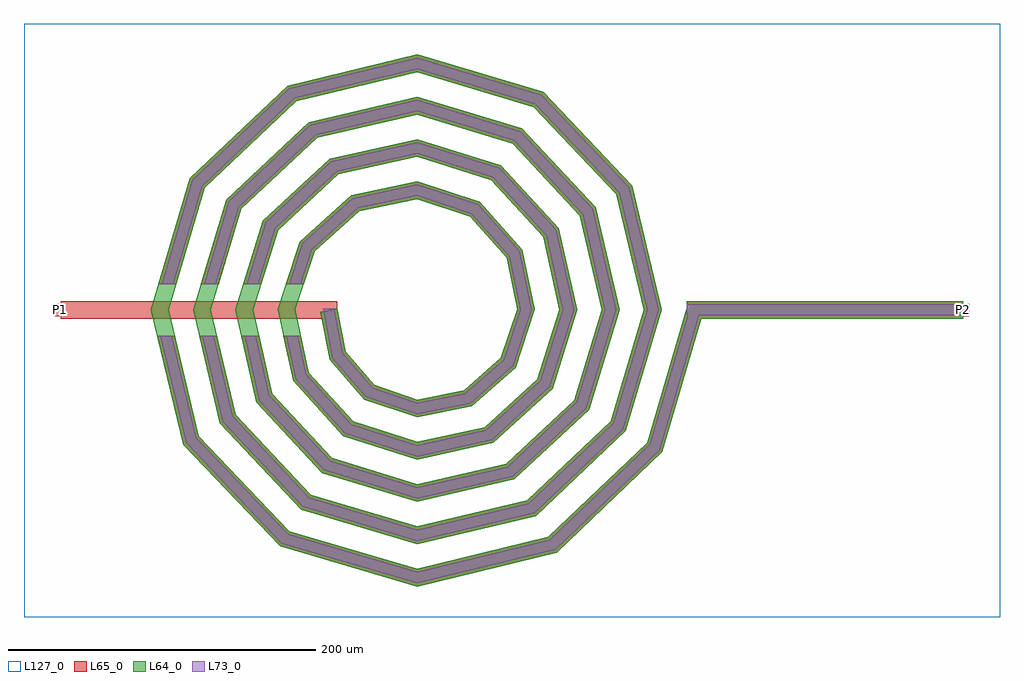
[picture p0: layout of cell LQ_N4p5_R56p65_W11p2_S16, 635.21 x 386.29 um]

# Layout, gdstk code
import gdstk
lib = gdstk.Library(unit=1e-6, precision=1e-09)
def R(c, l, rs):  # rectangles x0, y0, x1, y1
    for r in rs: c.add(gdstk.rectangle(r[:2], r[2:], *l))
def P(c, l, *ps):  # polygons
    for p in ps: c.add(gdstk.Polygon(p, *l))
L64_0 = (64, 0)
L65_0 = (65, 0)
L73_0 = (73, 0)
L127_0 = (127, 0)

lq_n4p5_r56p65_w11p2_s16 = lib.new_cell('LQ_N4p5_R56p65_W11p2_S16')
R(lq_n4p5_r56p65_w11p2_s16, L64_0, [(175.506,-5.6,355.506,5.6)])
P(lq_n4p5_r56p65_w11p2_s16, L64_0, [(-46.392,-27.264),(-27.704,-48.784),(0.386,-58.392),(30.665,-52.368),(54.719,-31.176),(65.268,0.349),(58.34,34.073),(34.643,60.658),(0.318,72.145),(-37.486,64.31),(-66.6,38.105),(-79.022,0.292),(-70.278,-40.903),(-41.563,-72.544),(0.27,-85.899),(44.324,-76.244),(78.49,-45.019),(92.776,0.251),(82.209,47.747),(48.473,84.437),(0.235,99.654),(-51.172,88.173),(-90.386,51.924),(-106.531,0.221),(-94.136,-54.599),(-55.375,-96.336),(0.208,-113.409),(58.027,-100.099),(102.286,-58.824),(120.287,0.197),(106.06,61.457),(62.272,108.237),(0.186,127.165),(-64.887,112.022),(-114.189,65.719),(-134.042,0.177),(-117.982,-68.319),(-69.165,-120.141),(0.169,-140.92),(71.751,-123.943),(126.093,-72.611),(147.798,0.161),(129.903,75.183),(76.056,132.046),(0.155,154.676),(-78.616,135.863),(-138,79.501),(-161.554,0.148),(-141.822,-82.05),(-82.945,-143.953),(0.142,-168.432),(85.484,-147.782),(149.907,-86.389),(175.733,1.578),(186.479,-1.578),(159.807,-92.425),(91.037,-157.961),(0.142,-180.024),(-88.991,-153.848),(-152.007,-87.593),(-173.146,0.148),(-147.888,85.557),(-84.148,146.054),(0.155,166.268),(82.123,141.928),(140.1,80.703),(159.39,0.161),(135.968,-78.69),(77.258,-134.147),(0.169,-152.511),(-75.258,-130.007),(-128.195,-73.812),(-145.633,0.177),(-124.046,71.826),(-70.365,122.242),(0.186,138.755),(68.395,118.084),(116.29,66.917),(131.876,0.197),(112.122,-64.965),(63.469,-110.339),(0.208,-124.998),(-61.536,-106.16),(-104.388,-60.019),(-118.119,0.221),(-100.196,58.108),(-56.568,98.438),(0.235,111.241),(54.682,94.231),(92.489,53.115),(104.362,0.251),(88.266,-51.257),(49.66,-86.541),(0.27,-97.483),(-47.835,-82.298),(-80.594,-46.202),(-90.604,0.292),(-76.33,44.416),(-42.742,74.648),(0.318,83.725),(41,70.358),(68.705,39.277),(76.845,0.349),(64.384,-37.588),(35.807,-62.764),(0.386,-69.965),(-34.182,-58.405),(-56.827,-32.329),(-62.801,-1.051),(-51.8,1.051)])
R(lq_n4p5_r56p65_w11p2_s16, L65_0, [(-231.701,-5.6,-51.701,5.6), (175.506,-5.6,355.506,5.6), (-235.701,-4,-227.701,4), (351.506,-4,359.506,4)])
P(lq_n4p5_r56p65_w11p2_s16, L65_0, [(-141.822,-82.05),(-82.945,-143.953),(0.142,-168.432),(85.484,-147.782),(149.907,-86.389),(175.733,1.578),(186.479,-1.578),(159.807,-92.425),(91.037,-157.961),(0.142,-180.024),(-88.991,-153.848),(-152.008,-87.593),(-169.063,-16.8),(-157.542,-16.8)],
  [(-117.982,-68.319),(-69.165,-120.141),(0.169,-140.92),(71.751,-123.943),(126.094,-72.611),(147.798,0.161),(129.903,75.183),(76.056,132.046),(0.155,154.676),(-78.616,135.863),(-138,79.501),(-156.542,16.8),(-168.222,16.8),(-147.888,85.557),(-84.148,146.054),(0.155,166.268),(82.123,141.928),(140.101,80.703),(159.39,0.161),(135.968,-78.69),(77.258,-134.147),(0.169,-152.511),(-75.258,-130.007),(-128.195,-73.812),(-141.632,-16.8),(-130.125,-16.8)],
  [(-94.136,-54.599),(-55.375,-96.336),(0.208,-113.409),(58.028,-100.099),(102.286,-58.824),(120.287,0.197),(106.06,61.457),(62.272,108.237),(0.187,127.165),(-64.887,112.022),(-114.189,65.719),(-128.927,16.8),(-140.625,16.8),(-124.046,71.826),(-70.365,122.242),(0.187,138.755),(68.395,118.085),(116.29,66.917),(131.876,0.197),(112.122,-64.965),(63.469,-110.339),(0.208,-124.998),(-61.536,-106.16),(-104.388,-60.019),(-114.24,-16.8),(-102.752,-16.8)],
  [(-70.278,-40.903),(-41.563,-72.544),(0.27,-85.899),(44.324,-76.244),(78.49,-45.019),(92.776,0.252),(82.209,47.747),(48.473,84.438),(0.235,99.654),(-51.172,88.173),(-90.386,51.924),(-101.261,16.8),(-112.986,16.8),(-100.196,58.108),(-56.568,98.438),(0.235,111.241),(54.682,94.231),(92.489,53.115),(104.362,0.252),(88.266,-51.258),(49.66,-86.541),(0.27,-97.483),(-47.835,-82.299),(-80.594,-46.202),(-86.924,-16.8),(-75.467,-16.8)],
  [(-27.704,-48.784),(0.386,-58.392),(30.665,-52.368),(54.719,-31.176),(65.268,0.349),(58.34,34.073),(34.643,60.658),(0.318,72.145),(-37.486,64.31),(-66.6,38.105),(-73.492,16.8),(-85.264,16.8),(-76.33,44.416),(-42.742,74.648),(0.318,83.725),(41,70.358),(68.705,39.277),(76.845,0.349),(64.384,-37.588),(35.807,-62.764),(0.386,-69.965),(-34.182,-58.405),(-56.827,-32.329),(-62.801,-1.051),(-51.8,1.051),(-46.392,-27.264)])
R(lq_n4p5_r56p65_w11p2_s16, L73_0, [(175.506,-3.6,355.506,3.6)])
P(lq_n4p5_r56p65_w11p2_s16, L73_0, [(-143.641,-83.04),(-84.024,-145.72),(0.092,-170.502),(86.476,-149.6),(151.675,-87.467),(177.652,1.014),(184.56,-1.014),(158.039,-91.347),(90.045,-156.144),(0.092,-177.954),(-87.911,-152.081),(-150.189,-86.603),(-167.006,-16.8),(-159.6,-16.8)],
  [(-119.806,-69.3),(-70.253,-121.903),(0.109,-142.99),(72.734,-125.765),(127.857,-73.697),(149.868,0.104),(131.724,76.169),(77.139,133.811),(0.099,156.746),(-79.604,137.683),(-139.765,80.582),(-158.628,16.8),(-166.136,16.8),(-146.122,84.475),(-83.161,144.234),(0.099,164.198),(81.04,140.164),(138.28,79.718),(157.32,0.104),(134.205,-77.605),(76.274,-132.325),(0.109,-150.441),(-74.17,-128.245),(-126.371,-72.831),(-139.577,-16.8),(-132.18,-16.8)],
  [(-95.967,-55.567),(-56.475,-98.09),(0.134,-115.479),(58.999,-101.927),(104.043,-59.92),(122.356,0.126),(107.887,62.432),(63.365,109.996),(0.12,129.234),(-65.866,113.847),(-115.949,66.809),(-131.016,16.8),(-138.536,16.8),(-122.286,70.736),(-69.387,120.417),(0.12,136.685),(67.302,116.326),(114.464,65.942),(129.807,0.126),(110.366,-63.868),(62.497,-108.51),(0.134,-122.928),(-60.436,-104.405),(-102.557,-59.051),(-112.188,-16.8),(-104.804,-16.8)],
  [(-72.12,-41.85),(-42.683,-74.286),(0.174,-87.968),(45.277,-78.083),(80.236,-46.133),(94.845,0.162),(84.045,48.706),(49.581,86.186),(0.151,101.723),(-52.136,90.006),(-92.138,53.029),(-103.355,16.8),(-110.892,16.8),(-98.444,57.004),(-55.604,96.605),(0.151,109.172),(53.573,92.483),(90.653,52.156),(102.293,0.162),(86.52,-50.144),(48.707,-84.702),(0.174,-95.415),(-46.715,-80.557),(-78.752,-45.256),(-84.878,-16.8),(-77.513,-16.8)],
  [(-28.861,-50.502),(0.248,-60.459),(31.583,-54.224),(56.445,-32.321),(67.336,0.224),(60.191,35.002),(35.778,62.39),(0.204,74.213),(-38.425,66.156),(-68.337,39.232),(-75.594,16.8),(-83.162,16.8),(-74.592,43.289),(-41.803,72.802),(0.204,81.657),(39.864,68.626),(66.854,38.348),(74.778,0.224),(62.658,-36.443),(34.888,-60.908),(0.248,-67.899),(-33.025,-56.687),(-54.963,-31.425),(-60.837,0.675),(-53.765,0.675),(-48.255,-28.169)])
R(lq_n4p5_r56p65_w11p2_s16, L127_0, [(-255.701,-200.024,379.506,186.268)])
lq_n4p5_r56p65_w11p2_s16.add(gdstk.Label('P2', (355.506,0), layer=65, texttype=0))
lq_n4p5_r56p65_w11p2_s16.add(gdstk.Label('P1', (-231.701,0), layer=65, texttype=0))
lq_n4p5_r56p65_w11p2_s16.add(gdstk.Label('P2', (359.506,0), layer=145, texttype=0))
lq_n4p5_r56p65_w11p2_s16.add(gdstk.Label('P1', (-235.701,0), layer=145, texttype=0))

lib.write_gds('LQ_N4p5_R56p65_W11p2_S16.gds')
